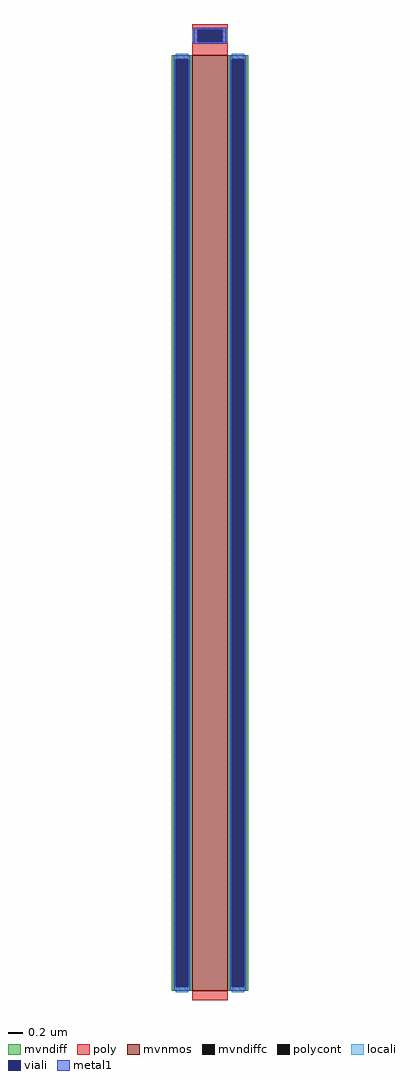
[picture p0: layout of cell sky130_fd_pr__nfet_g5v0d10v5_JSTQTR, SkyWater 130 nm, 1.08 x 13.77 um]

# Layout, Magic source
magic
tech sky130A
magscale 1 2
<< mvnmos >>
rect -50 -1351 50 1289
<< mvndiff >>
rect -108 1277 -50 1289
rect -108 -1339 -96 1277
rect -62 -1339 -50 1277
rect -108 -1351 -50 -1339
rect 50 1277 108 1289
rect 50 -1339 62 1277
rect 96 -1339 108 1277
rect 50 -1351 108 -1339
<< mvndiffc >>
rect -96 -1339 -62 1277
rect 62 -1339 96 1277
<< poly >>
rect -50 1361 50 1377
rect -50 1327 -34 1361
rect 34 1327 50 1361
rect -50 1289 50 1327
rect -50 -1377 50 -1351
<< polycont >>
rect -34 1327 34 1361
<< locali >>
rect -50 1327 -34 1361
rect 34 1327 50 1361
rect -96 1277 -62 1293
rect -96 -1355 -62 -1339
rect 62 1277 96 1293
rect 62 -1355 96 -1339
<< viali >>
rect -34 1327 34 1361
rect -96 -1339 -62 1277
rect 62 -1339 96 1277
<< metal1 >>
rect -46 1361 46 1367
rect -46 1327 -34 1361
rect 34 1327 46 1361
rect -46 1321 46 1327
rect -102 1277 -56 1289
rect -102 -1339 -96 1277
rect -62 -1339 -56 1277
rect -102 -1351 -56 -1339
rect 56 1277 102 1289
rect 56 -1339 62 1277
rect 96 -1339 102 1277
rect 56 -1351 102 -1339
<< properties >>
string gencell sky130_fd_pr__nfet_g5v0d10v5
string library sky130
string parameters w 13.2 l 0.5 m 1 nf 1 diffcov 100 polycov 100 guard 0 glc 1 grc 1 gtc 1 gbc 1 tbcov 100 rlcov 100 topc 1 botc 0 poverlap 0 doverlap 1 lmin 0.50 wmin 0.42 compatible {sky130_fd_pr__nfet_01v8 sky130_fd_pr__nfet_01v8_lvt  sky130_fd_bs_flash__special_sonosfet_star  sky130_fd_pr__nfet_g5v0d10v5 sky130_fd_pr__nfet_05v0_nvt  sky130_fd_pr__nfet_03v3_nvt} full_metal 1 viasrc 100 viadrn 100 viagate 100 viagb 0 viagr 0 viagl 0 viagt 0
<< end >>
